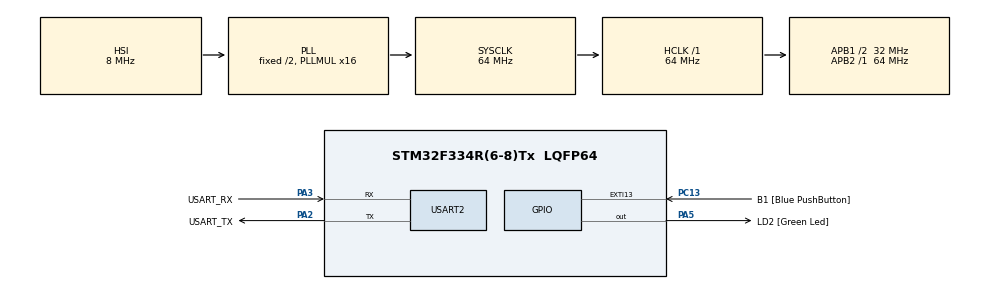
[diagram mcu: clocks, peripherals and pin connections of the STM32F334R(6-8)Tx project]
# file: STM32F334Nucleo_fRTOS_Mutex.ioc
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FREERTOS.Tasks01=defaultTask,0,128,StartDefaultTask,Default,NULL,Dynamic,NULL,NULL
Mcu.Family=STM32F3
Mcu.Name=STM32F334R(6-8)Tx
Mcu.Package=LQFP64
NVIC.PriorityGroup=NVIC_PRIORITYGROUP_4
NVIC.TIM2_IRQn=true\:0\:0\:false\:false\:true\:false\:false\:true
NVIC.TimeBase=TIM2_IRQn
NVIC.TimeBaseIP=TIM2
PA13.GPIO_Label=TMS
PA13.Mode=Serial_Wire
PA13.Signal=SYS_JTMS-SWDIO
PA14.GPIO_Label=TCK
PA14.Mode=Serial_Wire
PA14.Signal=SYS_JTCK-SWCLK
PA2.GPIO_Label=USART_TX
PA2.Mode=Asynchronous
PA2.Signal=USART2_TX
PA3.GPIO_Label=USART_RX
PA3.Mode=Asynchronous
PA3.Signal=USART2_RX
PA5.GPIO_Label=LD2 [Green Led]
PA5.Signal=GPIO_Output
PB3.GPIO_Label=SWO
PB3.Signal=SYS_JTDO-TRACESWO
PC13.GPIO_Label=B1 [Blue PushButton]
PC13.GPIO_ModeDefaultEXTI=GPIO_MODE_IT_FALLING
PC13.Signal=GPXTI13
PC14\ /\ OSC32_IN.Signal=RCC_OSC32_IN
PC15\ /\ OSC32_OUT.GPIO_Label=RCC_OSC32_OUT
PC15\ /\ OSC32_OUT.Signal=RCC_OSC32_OUT
PF0\ /\ OSC_IN.Mode=HSE-External-Oscillator
PF0\ /\ OSC_IN.Signal=RCC_OSC_IN
PF1\ /\ OSC_OUT.Mode=HSE-External-Oscillator
PF1\ /\ OSC_OUT.Signal=RCC_OSC_OUT
ProjectManager.HeapSize=0x200
ProjectManager.StackSize=0x400
ProjectManager.TargetToolchain=STM32CubeIDE
RCC.AHBFreq_Value=64000000
RCC.APB1CLKDivider=RCC_HCLK_DIV2
RCC.APB1Freq_Value=32000000
RCC.APB1TimFreq_Value=64000000
RCC.APB2Freq_Value=64000000
RCC.APB2TimFreq_Value=64000000
RCC.CortexFreq_Value=64000000
RCC.FLatency-AdvancedSettings=FLASH_LATENCY_2
RCC.HCLKFreq_Value=64000000
RCC.HSE_VALUE=8000000
RCC.HSI_VALUE=8000000
RCC.PLLMUL=RCC_PLL_MUL16
RCC.SYSCLKFreq_VALUE=64000000
RCC.SYSCLKSourceVirtual=RCC_SYSCLKSOURCE_PLLCLK
USART2.VirtualMode-Asynchronous=VM_ASYNC
VP_FREERTOS_VS_CMSIS_V1.Mode=CMSIS_V1
VP_SYS_VS_tim2.Mode=TIM2
board=NUCLEO-F334R8

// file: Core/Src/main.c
/* USER CODE BEGIN Header */
/**
 ******************************************************************************
 * @file           : main.c
 * @brief          : Main program body
 ******************************************************************************
 * @attention
 *
 * <h2><center>&copy; Copyright (c) 2022 STMicroelectronics.
 * All rights reserved.</center></h2>
 *
 * This software component is licensed by ST under BSD 3-Clause license,
 * the "License"; You may not use this file except in compliance with the
 * License. You may obtain a copy of the License at:
 *                        opensource.org/licenses/BSD-3-Clause
 *
 ******************************************************************************
 */
/* USER CODE END Header */
#include "main.h"
//#include "cmsis_os.h"

/* USER CODE BEGIN Includes */

#include "FreeRTOS.h"
#include "task.h"
//#include "timers.h"
#include "queue.h"
#include "semphr.h"
//#include "event_groups.h"
#include "string.h"

/* USER CODE END Includes */

UART_HandleTypeDef huart2;

void SystemClock_Config(void);
static void MX_GPIO_Init(void);
static void MX_USART2_UART_Init(void);

/* USER CODE BEGIN 0 */

SemaphoreHandle_t MyMutex;
TaskHandle_t Task1_Handler;
TaskHandle_t Task2_Handler;

void Task1(void *argument);
void Task2(void *argument);

void Send_Uart(char *str) {
	xSemaphoreTake(MyMutex, portMAX_DELAY);
	HAL_Delay(2000);
	HAL_UART_Transmit(&huart2, (uint8_t*) str, strlen(str), HAL_MAX_DELAY);
	xSemaphoreGive(MyMutex);
}

/* USER CODE END 0 */

int main(void) {

	/* MCU Configuration--------------------------------------------------------*/

	/* Reset of all peripherals, Initializes the Flash interface and the Systick. */
	HAL_Init();

	/* Configure the system clock */
	SystemClock_Config();

	/* Initialize all configured peripherals */
	MX_GPIO_Init();
	MX_USART2_UART_Init();
	/* USER CODE BEGIN 2 */
	MyMutex = xSemaphoreCreateMutex();
	if (MyMutex != NULL) {
		HAL_UART_Transmit(&huart2, (uint8_t*) "Mutex Creation\r\n", 15, 1000);
	}

	/// create tasks

	xTaskCreate(Task1, "Task 1", 128, NULL, 3, &Task1_Handler);
	xTaskCreate(Task2, "Task 2", 128, NULL, 2, &Task2_Handler);

	vTaskStartScheduler();
	/* USER CODE END 2 */

	/* We should never get here as control is now taken by the scheduler */
	/* Infinite loop */
	while (1) {

	}
}

void SystemClock_Config(void) {
	RCC_OscInitTypeDef RCC_OscInitStruct = { 0 };
	RCC_ClkInitTypeDef RCC_ClkInitStruct = { 0 };

	/** Initializes the RCC Oscillators according to the specified parameters
	 * in the RCC_OscInitTypeDef structure.
	 */
	RCC_OscInitStruct.OscillatorType = RCC_OSCILLATORTYPE_HSI;
	RCC_OscInitStruct.HSIState = RCC_HSI_ON;
	RCC_OscInitStruct.HSICalibrationValue = RCC_HSICALIBRATION_DEFAULT;
	RCC_OscInitStruct.PLL.PLLState = RCC_PLL_ON;
	RCC_OscInitStruct.PLL.PLLSource = RCC_PLLSOURCE_HSI;
	RCC_OscInitStruct.PLL.PLLMUL = RCC_PLL_MUL16;
	if (HAL_RCC_OscConfig(&RCC_OscInitStruct) != HAL_OK) {
		Error_Handler();
	}
	/** Initializes the CPU, AHB and APB buses clocks
	 */
	RCC_ClkInitStruct.ClockType = RCC_CLOCKTYPE_HCLK | RCC_CLOCKTYPE_SYSCLK
			| RCC_CLOCKTYPE_PCLK1 | RCC_CLOCKTYPE_PCLK2;
	RCC_ClkInitStruct.SYSCLKSource = RCC_SYSCLKSOURCE_PLLCLK;
	RCC_ClkInitStruct.AHBCLKDivider = RCC_SYSCLK_DIV1;
	RCC_ClkInitStruct.APB1CLKDivider = RCC_HCLK_DIV2;
	RCC_ClkInitStruct.APB2CLKDivider = RCC_HCLK_DIV1;

	if (HAL_RCC_ClockConfig(&RCC_ClkInitStruct, FLASH_LATENCY_2) != HAL_OK) {
		Error_Handler();
	}
}

static void MX_USART2_UART_Init(void) {

	huart2.Instance = USART2;
	huart2.Init.BaudRate = 38400;
	huart2.Init.WordLength = UART_WORDLENGTH_8B;
	huart2.Init.StopBits = UART_STOPBITS_1;
	huart2.Init.Parity = UART_PARITY_NONE;
	huart2.Init.Mode = UART_MODE_TX_RX;
	huart2.Init.HwFlowCtl = UART_HWCONTROL_NONE;
	huart2.Init.OverSampling = UART_OVERSAMPLING_16;
	huart2.Init.OneBitSampling = UART_ONE_BIT_SAMPLE_DISABLE;
	huart2.AdvancedInit.AdvFeatureInit = UART_ADVFEATURE_NO_INIT;
	if (HAL_UART_Init(&huart2) != HAL_OK) {
		Error_Handler();
	}

}

static void MX_GPIO_Init(void) {
	GPIO_InitTypeDef GPIO_InitStruct = { 0 };

	/* GPIO Ports Clock Enable */
	__HAL_RCC_GPIOC_CLK_ENABLE();
	__HAL_RCC_GPIOF_CLK_ENABLE();
	__HAL_RCC_GPIOA_CLK_ENABLE();
	__HAL_RCC_GPIOB_CLK_ENABLE();

	/*Configure GPIO pin Output Level */
	HAL_GPIO_WritePin(LD2_GPIO_Port, LD2_Pin, GPIO_PIN_RESET);

	/*Configure GPIO pin : B1_Pin */
	GPIO_InitStruct.Pin = B1_Pin;
	GPIO_InitStruct.Mode = GPIO_MODE_IT_FALLING;
	GPIO_InitStruct.Pull = GPIO_NOPULL;
	HAL_GPIO_Init(B1_GPIO_Port, &GPIO_InitStruct);

	/*Configure GPIO pin : LD2_Pin */
	GPIO_InitStruct.Pin = LD2_Pin;
	GPIO_InitStruct.Mode = GPIO_MODE_OUTPUT_PP;
	GPIO_InitStruct.Pull = GPIO_NOPULL;
	GPIO_InitStruct.Speed = GPIO_SPEED_FREQ_LOW;
	HAL_GPIO_Init(LD2_GPIO_Port, &GPIO_InitStruct);

}

/* USER CODE BEGIN 4 */
void Task1(void *argument) {
	char *strtosend = "In Mutex Of Task1\r\n";
	while (1) {
		char *str = "Entered Task1 but before requesting the Mutex\r\n";
		HAL_UART_Transmit(&huart2, (uint8_t*) str, strlen(str), HAL_MAX_DELAY);

		Send_Uart(strtosend);

		char *str2 = "Leaving Task1\r\n";
		HAL_UART_Transmit(&huart2, (uint8_t*) str2, strlen(str2),
		HAL_MAX_DELAY);

		vTaskDelay(2000);
	}
}

void Task2(void *argument) {
	char *strtosend = "In Mutex Of Task2\r\n";
	while (1) {
		char *str = "Entered Task2 but before requesting the Mutex\r\n";
		HAL_UART_Transmit(&huart2, (uint8_t*) str, strlen(str), HAL_MAX_DELAY);

		Send_Uart(strtosend);

		char *str2 = "Leaving Task2\r\n";
		HAL_UART_Transmit(&huart2, (uint8_t*) str2, strlen(str2),
		HAL_MAX_DELAY);

		vTaskDelay(1000);
	}
}

/* USER CODE END 4 */

void HAL_TIM_PeriodElapsedCallback(TIM_HandleTypeDef *htim) {
	if (htim->Instance == TIM2) {
		HAL_IncTick();
	}
}

void Error_Handler(void) {
	__disable_irq();
	while (1) {
	}
}

/************************ (C) COPYRIGHT STMicroelectronics *****END OF FILE****/
